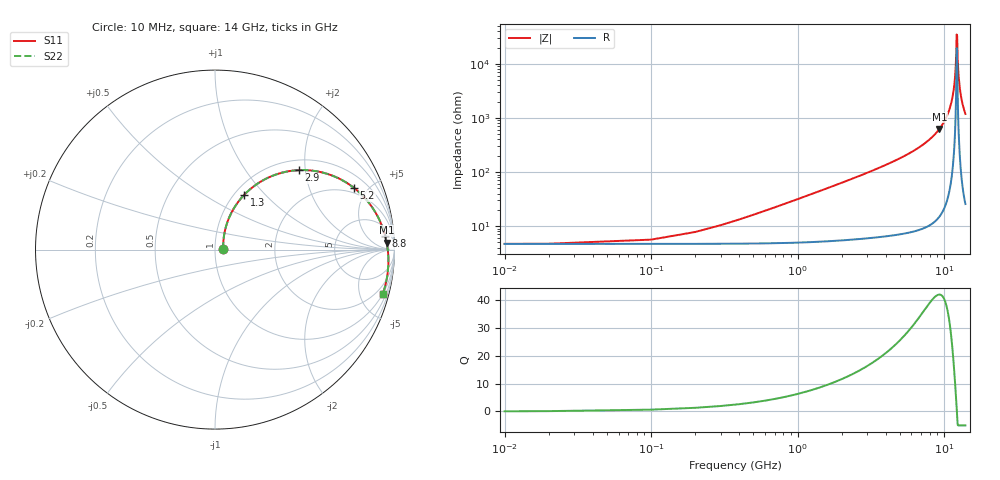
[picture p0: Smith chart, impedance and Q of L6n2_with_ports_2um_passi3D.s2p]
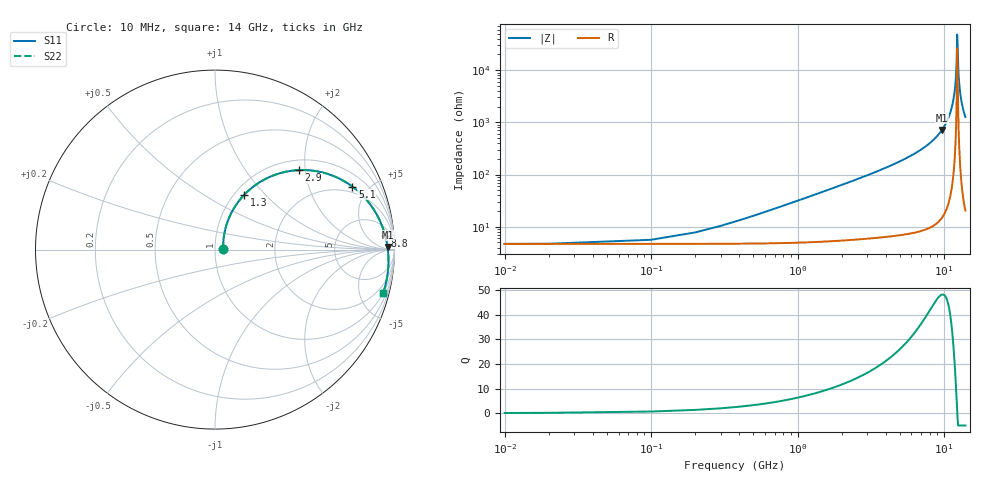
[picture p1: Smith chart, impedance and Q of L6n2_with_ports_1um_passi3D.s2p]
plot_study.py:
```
"""Regenerate the L6n2 study's differential L/Q/R plots.

Same calculation, axis limits, colors and line styles as plot_inductor
(D:/github/plot_inductor/plot_inductor.py), but with explicit legend labels
instead of truncated file names, and saving to PNG instead of plt.show().

usage: python plot_study.py [study_dir] [out_dir]
defaults: the study folder this script sits in (results/..), and results/plots
"""
import math
import os
import sys

import matplotlib
matplotlib.use("Agg")
from matplotlib import pyplot as plt
import skrf as rf

here = os.path.dirname(os.path.abspath(__file__))
study_dir = sys.argv[1] if len(sys.argv) > 1 else os.path.dirname(here)
out_dir = sys.argv[2] if len(sys.argv) > 2 else os.path.join(here, "plots")
res = os.path.join(study_dir, "results")

MEAS = (os.path.join(study_dir, "meas_L5_6n2_THRU_deemb.S2P"), "Measured (de-embedded)")
CONF_2UM = (os.path.join(res, "L6n2_with_ports_2um_passi3D.s2p"), "Sim: conformal passivation, 2 µm mesh")
CONF_1UM = (os.path.join(res, "L6n2_with_ports_1um_passi3D.s2p"), "Sim: conformal passivation, 1 µm mesh")
CONF_5UM = (os.path.join(res, "L6n2_with_ports_5um_passi3D.s2p"), "Sim: conformal passivation, 5 µm mesh")
PASSICUT = (os.path.join(res, "L6n2_with_ports_2um_passicut.s2p"), "Sim: passivation cut (valleys only), 2 µm mesh")

SURF_MERGE = (os.path.join(res, "L6n2_with_ports_surfacemesh_2um_viamerge.s2p"),
              "Sim: surface model, via merge, no correction")
SURF_NOMERGE = (os.path.join(res, "L6n2_with_ports_surfacemesh_2um_noviamerge.s2p"),
                "Sim: surface model, no via merge (individual vias)")
SURF_CORR = (os.path.join(res, "L6n2_with_ports_surfacemesh_2um_mergecorrection.s2p"),
             "Sim: surface model, via merge + fill factor correction")
PLANAR_FILLED = (os.path.join(res, "L6n2_with_ports_2um_mergecorrection_filled.s2p"),
                 "Sim: volume model (filled metals), via merge + correction")
MARGIN = [(os.path.join(res, f"L6n2_with_ports_2um_passi3D_margin{m}.s2p"), f"Sim: conformal, 2 µm mesh, margin {m} µm")
          for m in (100, 200)] + [(CONF_2UM[0], "Sim: conformal, 2 µm mesh, margin 400 µm"),
                                  (os.path.join(res, "L6n2_with_ports_2um_passi3D_margin800.s2p"),
                                   "Sim: conformal, 2 µm mesh, margin 800 µm")]

PLOTS = {
    "via_array_merging.png": [MEAS, SURF_MERGE, SURF_NOMERGE, SURF_CORR],
    "surface_vs_filled.png": [MEAS, SURF_CORR, PLANAR_FILLED],
    "passi3D_2um.png": [MEAS, CONF_2UM],
    "passicut.png": [MEAS, CONF_2UM, PASSICUT],
    "passi3D_5um.png": [MEAS, CONF_5UM, CONF_2UM],
    "passi3D_1um.png": [MEAS, CONF_2UM, CONF_1UM],
    "margin.png": [MEAS] + MARGIN,
}

colors = ['b', 'r', 'm', 'c', 'g', 'y', 'k', 'w']
linestyles = ['solid', 'dashed', 'dashdot', 'dotted', 'solid', 'dashed', 'dashdot', 'dotted']


def get_diff_model(sub):
    z11 = sub.z[:, 0, 0]
    z21 = sub.z[:, 1, 0]
    z12 = sub.z[:, 0, 1]
    z22 = sub.z[:, 1, 1]
    Zdiff = z11 - z12 - z21 + z22
    freq = sub.frequency.f
    omega = freq * 2 * math.pi
    return freq, Zdiff.real, Zdiff.imag / omega, Zdiff.imag / Zdiff.real


def plot(entries, out_path):
    networks = []
    global_fmax = math.inf
    for path, label in entries:
        nw = rf.Network(path)
        networks.append((nw, label))
        global_fmax = min(global_fmax, max(nw.frequency.f))
    fspec = str(int(100e6 / 1e6)) + '-' + str(int(global_fmax / 1e6)) + 'mhz'

    Lmin, Rmin, Qmax = math.inf, math.inf, 0
    for nw, _ in networks:
        freq0, Rdiff0, Ldiff0, Qdiff0 = get_diff_model(nw[fspec])
        Lmin = min(Lmin, Ldiff0[1] * 1e9)
        Rmin = min(Rmin, Rdiff0[1])
        Qmax = max(Qmax, max(Qdiff0))
    # like plot_inductor: SRF-based x range from the LAST file's data
    srf_index = rf.util.find_nearest_index(Ldiff0, min(Ldiff0))
    plot_fmax_ghz = 1.2 * freq0[srf_index] / 1e9 if srf_index > 20 else global_fmax / 1e9
    Rs_index = rf.util.find_nearest_index(Rdiff0, rf.util.find_nearest(Rdiff0, 3 * Rmin))

    fig, axes = plt.subplots(2, 2, figsize=(12, 9))
    fig.suptitle("Differential Inductor Parameters")
    panels = [
        (axes[0, 0], lambda f, R, L, Q: L * 1e9, "Diff. Inductance (nH)", (0, 3 * Lmin), plot_fmax_ghz),
        (axes[0, 1], lambda f, R, L, Q: Q, "Diff. Q factor", (0, 1.2 * Qmax), plot_fmax_ghz),
        (axes[1, 0], lambda f, R, L, Q: R, "Diff. Resistance (Ohm)", (0, 5 * Rmin), plot_fmax_ghz),
        (axes[1, 1], lambda f, R, L, Q: R, "Diff. Resistance (Ohm)", (0.5 * Rmin, 3 * Rmin), freq0[Rs_index] / 1e9),
    ]
    for ax, value, ylabel, ylim, xmax in panels:
        ax.set_ylim(*ylim)
        ax.set_xlim(0, xmax)
        for n, (nw, label) in enumerate(networks):
            freq, R, L, Q = get_diff_model(nw[fspec])
            ax.plot(freq / 1e9, value(freq, R, L, Q), color=colors[n % 8], linestyle=linestyles[n % 8], label=label)
        ax.set_xlabel("Frequency (GHz)")
        ax.set_ylabel(ylabel)
        ax.set_xmargin(0)
        ax.legend(fontsize=9)
        ax.grid()
    fig.tight_layout()
    fig.savefig(out_path, dpi=125)
    plt.close(fig)
    print("wrote", out_path)


os.makedirs(out_dir, exist_ok=True)
for name, entries in PLOTS.items():
    plot(entries, os.path.join(out_dir, name))
```
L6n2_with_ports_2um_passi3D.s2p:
#  GHZ S DB R 50.0
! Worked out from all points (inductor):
!   142 points, 10 MHz to 14 GHz, reference 50 ohm
!   read as one part in series: L = 4.93 nH near 500 MHz
!   highest Q = 41.9 at 9.3 GHz (marker M1), where L = 10.7 nH
!   self-resonance near 12.2 GHz
!   S11 on the Smith chart (normalised r, x): 10 MHz: 1.09, +0.01; 1.3 GHz: 1.11, +0.77; 2.9 GHz: 1.22, +1.84; 5.2 GHz: 1.67, +4.08; 8.8 GHz: 12, +18; 14 GHz: 0.98, -7.52
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0.01  -26.97 3.3  -0.40 -0.2  -0.40 -0.2  -26.97 3.3
1.3  -9.17 61.8  -1.10 -22.1  -1.10 -22.1  -9.18 61.8
2.9  -3.83 43.5  -3.07 -43.5  -3.07 -43.5  -3.83 43.5
5.2  -1.44 23.9  -6.84 -64.2  -6.84 -64.2  -1.44 23.9
7.1  -0.72 12.6  -10.53 -76.0  -10.53 -76.0  -0.72 12.6
8.8  -0.43 4.5  -14.70 -84.2  -14.70 -84.2  -0.43 4.5
9.3  -0.38 2.4  -16.24 -86.3  -16.24 -86.3  -0.38 2.3
11.5  -0.26 -6.2  -28.79 -93.3  -28.79 -93.3  -0.26 -6.2
12.2  -0.26 -8.7  -51.19 -64.6  -51.19 -64.6  -0.26 -8.7
12.8  -0.26 -10.8  -31.71 76.0  -31.71 76.0  -0.26 -10.8
14  -0.29 -14.9  -21.92 74.1  -21.92 74.1  -0.29 -14.9
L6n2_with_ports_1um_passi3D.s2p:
#  GHZ S DB R 50.0
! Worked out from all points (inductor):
!   142 points, 10 MHz to 14 GHz, reference 50 ohm
!   read as one part in series: L = 4.93 nH near 500 MHz
!   highest Q = 48.2 at 9.7 GHz (marker M1), where L = 11.8 nH
!   self-resonance near 12.3 GHz
!   S11 on the Smith chart (normalised r, x): 10 MHz: 1.09, +0.01; 1.3 GHz: 1.11, +0.77; 2.9 GHz: 1.22, +1.84; 5.1 GHz: 1.63, +3.93; 8.8 GHz: 11, +18; 14 GHz: 1.00, -7.69
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0.01  -26.96 3.3  -0.40 -0.2  -0.40 -0.2  -26.96 3.3
1.3  -9.17 61.8  -1.10 -22.1  -1.10 -22.1  -9.18 61.8
2.9  -3.83 43.5  -3.07 -43.5  -3.07 -43.5  -3.83 43.5
5.1  -1.49 24.7  -6.64 -63.5  -6.64 -63.5  -1.50 24.7
7.1  -0.72 12.7  -10.48 -75.9  -10.48 -75.9  -0.73 12.7
8.8  -0.43 4.7  -14.58 -84.1  -14.58 -84.1  -0.43 4.7
9.7  -0.34 0.9  -17.44 -87.9  -17.44 -87.9  -0.34 0.9
11.7  -0.26 -6.7  -30.35 -94.2  -30.35 -94.2  -0.26 -6.7
12.3  -0.25 -8.8  -53.99 -65.8  -53.99 -65.8  -0.25 -8.8
12.8  -0.26 -10.5  -33.32 76.9  -33.32 76.9  -0.26 -10.5
14  -0.28 -14.6  -22.46 74.7  -22.46 74.7  -0.29 -14.6
